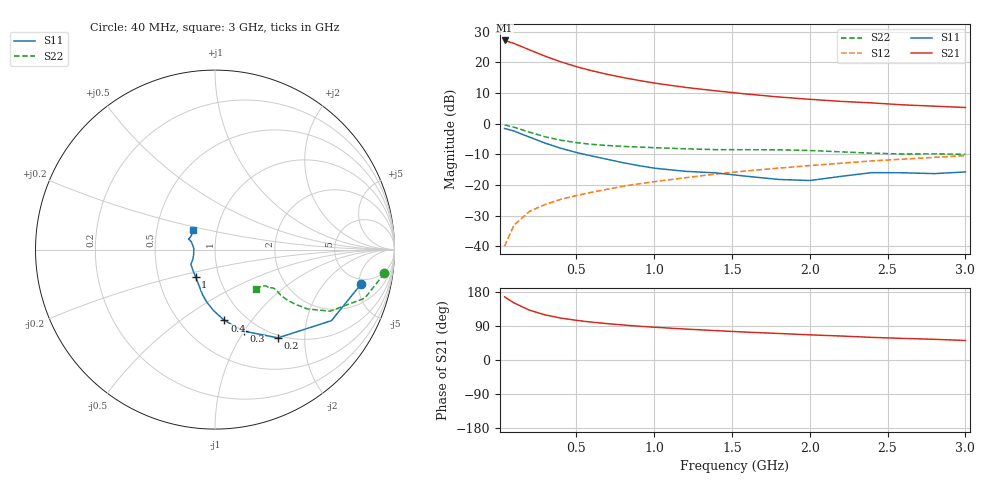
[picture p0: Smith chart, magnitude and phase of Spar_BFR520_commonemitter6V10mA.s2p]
! Filename:  BFR520I.S2P  Version:  2.1
! NXP part #: BFR520  Date: Sep 1991
! Bias condition: Vce=6V, Ic=10mA
#  MHz  S  MA  R  50
! Freq  S11  S21  S12  S22  !GUM [dB]
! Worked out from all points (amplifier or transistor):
!   21 points, 40 MHz to 3 GHz, reference 50 ohm
!   highest |S21| = 27.2 dB at 40 MHz (marker M1)
!   |S21| within 3 dB of that: start of sweep to 196.7 MHz
!   unconditionally stable (mu >= 1): 1.143 GHz to end of sweep
!   at 300 MHz: K = 0.61, MSG = 24.2 dB, |S12| = -26.4 dB
!   at 1 GHz: K = 0.98, MSG = 16.1 dB, |S12| = -18.9 dB
!   at 3 GHz: K = 1.02, MAG = 7.0 dB, |S12| = -10.4 dB
!   lowest NFmin = 1.10 dB at 500 MHz
!   S11 on the Smith chart (normalised r, x): 40 MHz: 4.20, -5.36; 200 MHz: 0.96, -1.48; 300 MHz: 0.84, -1.00; 400 MHz: 0.80, -0.75; 1 GHz: 0.77, -0.25; 3 GHz: 0.77, +0.17
40  0.836 -13.3  22.88 166.6  0.01 82.7  0.953 -8.0
100  0.76 -31.4  20.46 150.7  0.022 74.6  0.877 -18.0
200  0.604 -54.5  16.07 131.4  0.037 67.0  0.726 -28.2
300  0.482 -70.5  12.68 119.1  0.048 65.1  0.612 -32.7
400  0.398 -82.5  10.26 110.7  0.058 64.7  0.538 -34.3
500  0.339 -91.5  8.558 104.7  0.067 65.8  0.491 -34.9
600  0.297 -98.7  7.322 99.9  0.076 66.7  0.46 -34.9
700  0.262 -105.2  6.399 96.0  0.085 67.7  0.441 -34.6
800  0.231 -111.2  5.675 92.5  0.095 68.4  0.426 -34.1
900  0.207 -117.4  5.099 89.3  0.104 68.8  0.416 -33.7
1000  0.188 -124.9  4.623 86.5  0.113 69.2  0.406 -33.4
1200  0.167 -138.3  3.92 81.7  0.131 69.6  0.389 -33.4
1400  0.157 -148.8  3.434 77.4  0.151 69.5  0.377 -34.4
1600  0.138 -154.8  3.041 73.4  0.17 69.3  0.376 -34.8
1800  0.123 -165.4  2.734 70.0  0.188 69.2  0.375 -35.5
2000  0.118 176.8  2.503 66.4  0.207 68.3  0.365 -35.2
2200  0.138 162.0  2.316 63.3  0.226 67.6  0.347 -35.6
2400  0.159 157.9  2.185 59.7  0.247 66.6  0.33 -38.3
2600  0.158 157.9  2.03 57.0  0.264 65.4  0.32 -41.8
2800  0.153 151.2  1.934 54.6  0.282 64.9  0.322 -43.7
3000  0.163 137.5  1.838 51.5  0.301 63.7  0.316 -43.5
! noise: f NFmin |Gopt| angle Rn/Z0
500  1.1  0.333  25  0.24
900  1.25  0.291  41  0.24
1000  1.3  0.273  43  0.25
2000  1.9  0.17  148  0.16
